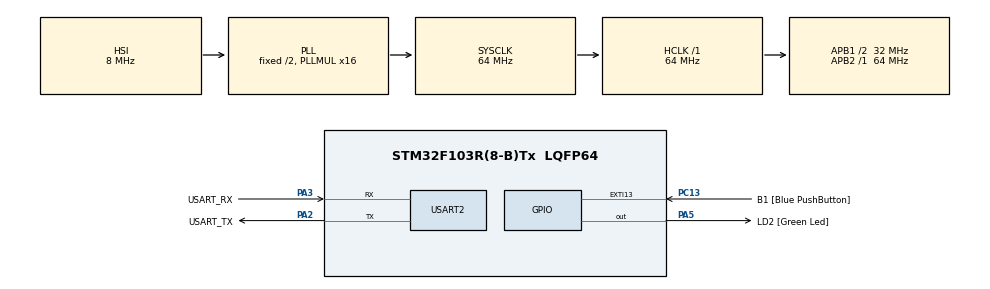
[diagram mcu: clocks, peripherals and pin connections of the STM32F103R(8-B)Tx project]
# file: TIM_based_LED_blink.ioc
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Mcu.Family=STM32F1
Mcu.Name=STM32F103R(8-B)Tx
Mcu.Package=LQFP64
NVIC.EXTI15_10_IRQn=true\:0\:0\:false\:false\:true\:true\:true\:true
NVIC.PriorityGroup=NVIC_PRIORITYGROUP_4
NVIC.TIM2_IRQn=true\:0\:0\:false\:false\:true\:true\:true\:true
PA13.GPIO_Label=TMS
PA13.Mode=Serial_Wire
PA13.Signal=SYS_JTMS-SWDIO
PA14.GPIO_Label=TCK
PA14.Mode=Serial_Wire
PA14.Signal=SYS_JTCK-SWCLK
PA2.GPIO_Label=USART_TX
PA2.GPIO_Mode=GPIO_MODE_AF_PP
PA2.GPIO_PuPd=GPIO_NOPULL
PA2.GPIO_Speed=GPIO_SPEED_FREQ_LOW
PA2.Mode=Asynchronous
PA2.Signal=USART2_TX
PA3.GPIO_Label=USART_RX
PA3.GPIO_Mode=GPIO_MODE_AF_PP
PA3.GPIO_PuPd=GPIO_NOPULL
PA3.GPIO_Speed=GPIO_SPEED_FREQ_LOW
PA3.Mode=Asynchronous
PA3.Signal=USART2_RX
PA5.GPIO_Label=LD2 [Green Led]
PA5.GPIO_ModeDefaultOutputPP=GPIO_MODE_OUTPUT_PP
PA5.GPIO_PuPd=GPIO_NOPULL
PA5.GPIO_Speed=GPIO_SPEED_FREQ_LOW
PA5.Signal=GPIO_Output
PB3.GPIO_Label=SWO
PB3.Signal=SYS_JTDO-TRACESWO
PC13-TAMPER-RTC.GPIO_Label=B1 [Blue PushButton]
PC13-TAMPER-RTC.GPIO_PuPd=GPIO_NOPULL
PC13-TAMPER-RTC.Signal=GPXTI13
PC14-OSC32_IN.Mode=LSE-External-Oscillator
PC14-OSC32_IN.Signal=RCC_OSC32_IN
PC15-OSC32_OUT.Mode=LSE-External-Oscillator
PC15-OSC32_OUT.Signal=RCC_OSC32_OUT
PD0-OSC_IN.Mode=HSE-External-Clock-Source
PD0-OSC_IN.Signal=RCC_OSC_IN
PD1-OSC_OUT.Mode=HSE-External-Clock-Source
PD1-OSC_OUT.Signal=RCC_OSC_OUT
ProjectManager.HeapSize=0x200
ProjectManager.StackSize=0x400
ProjectManager.TargetToolchain=STM32CubeIDE
RCC.AHBFreq_Value=64000000
RCC.APB1CLKDivider=RCC_HCLK_DIV2
RCC.APB1Freq_Value=32000000
RCC.APB1TimFreq_Value=64000000
RCC.APB2Freq_Value=64000000
RCC.APB2TimFreq_Value=64000000
RCC.HCLKFreq_Value=64000000
RCC.PLLMUL=RCC_PLL_MUL16
RCC.RTCClockSelection=RCC_RTCCLKSOURCE_LSE
RCC.SYSCLKFreq_VALUE=64000000
RCC.SYSCLKSource=RCC_SYSCLKSOURCE_PLLCLK
RCC.USBFreq_Value=64000000
TIM2.Period=1-1
TIM2.Prescaler=64000-1
USART2.VirtualMode=VM_ASYNC
VP_TIM2_VS_ClockSourceINT.Mode=Internal
board=NUCLEO-F103RB

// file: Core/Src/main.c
/* USER CODE BEGIN Header */
/**
  ******************************************************************************
  * @file           : main.c
  * @brief          : Main program body
  ******************************************************************************
  * @attention
  *
  * Copyright (c) 2025 STMicroelectronics.
  * All rights reserved.
  *
  * This software is licensed under terms that can be found in the LICENSE file
  * in the root directory of this software component.
  * If no LICENSE file comes with this software, it is provided AS-IS.
  *
  ******************************************************************************
  */
/* USER CODE END Header */
/* USER CODE BEGIN 0 */
/*
 * === STM32 BASIC TEMPLATE ===
 * - TIM2 as system tick (2 ms)
 * - ISR: only counters / events
 * - main loop: hardware actions
 * - NO HAL_Delay in ISR
 * - NO heavy logic in ISR
 */
/* USER CODE END 0 */

#include "main.h"

/* USER CODE BEGIN PD */
#define SYS_TICK_PERIOD_MS   2
#define LED_BLINK_PERIOD_MS 500
/* USER CODE END PD */

TIM_HandleTypeDef htim2;

UART_HandleTypeDef huart2;

/* USER CODE BEGIN PV */
volatile uint32_t sys_tick_ms = 0;
volatile uint32_t event_led_toggle = 0;
/* USER CODE END PV */

void SystemClock_Config(void);
static void MX_GPIO_Init(void);
static void MX_USART2_UART_Init(void);
static void MX_TIM2_Init(void);

int main(void)
{

  /* MCU Configuration--------------------------------------------------------*/

  /* Reset of all peripherals, Initializes the Flash interface and the Systick. */
  HAL_Init();

  /* Configure the system clock */
  SystemClock_Config();

  /* Initialize all configured peripherals */
  MX_GPIO_Init();
  MX_USART2_UART_Init();
  MX_TIM2_Init();
  /* USER CODE BEGIN 2 */
  HAL_TIM_Base_Start_IT(&htim2);
  /* USER CODE END 2 */

  /* Infinite loop */
	/* USER CODE BEGIN WHILE */
	while (1) {
		if (event_led_toggle > 0) {
			event_led_toggle--;
			HAL_GPIO_TogglePin(LD2_GPIO_Port, LD2_Pin);
		}
		/* USER CODE END WHILE */

  }
}

void SystemClock_Config(void)
{
  RCC_OscInitTypeDef RCC_OscInitStruct = {0};
  RCC_ClkInitTypeDef RCC_ClkInitStruct = {0};

  /** Initializes the RCC Oscillators according to the specified parameters
  * in the RCC_OscInitTypeDef structure.
  */
  RCC_OscInitStruct.OscillatorType = RCC_OSCILLATORTYPE_HSI;
  RCC_OscInitStruct.HSIState = RCC_HSI_ON;
  RCC_OscInitStruct.HSICalibrationValue = RCC_HSICALIBRATION_DEFAULT;
  RCC_OscInitStruct.PLL.PLLState = RCC_PLL_ON;
  RCC_OscInitStruct.PLL.PLLSource = RCC_PLLSOURCE_HSI_DIV2;
  RCC_OscInitStruct.PLL.PLLMUL = RCC_PLL_MUL16;
  if (HAL_RCC_OscConfig(&RCC_OscInitStruct) != HAL_OK)
  {
    Error_Handler();
  }

  /** Initializes the CPU, AHB and APB buses clocks
  */
  RCC_ClkInitStruct.ClockType = RCC_CLOCKTYPE_HCLK|RCC_CLOCKTYPE_SYSCLK
                              |RCC_CLOCKTYPE_PCLK1|RCC_CLOCKTYPE_PCLK2;
  RCC_ClkInitStruct.SYSCLKSource = RCC_SYSCLKSOURCE_PLLCLK;
  RCC_ClkInitStruct.AHBCLKDivider = RCC_SYSCLK_DIV1;
  RCC_ClkInitStruct.APB1CLKDivider = RCC_HCLK_DIV2;
  RCC_ClkInitStruct.APB2CLKDivider = RCC_HCLK_DIV1;

  if (HAL_RCC_ClockConfig(&RCC_ClkInitStruct, FLASH_LATENCY_2) != HAL_OK)
  {
    Error_Handler();
  }
}

static void MX_TIM2_Init(void)
{

  TIM_ClockConfigTypeDef sClockSourceConfig = {0};
  TIM_MasterConfigTypeDef sMasterConfig = {0};

  htim2.Instance = TIM2;
  htim2.Init.Prescaler = 64000-1;
  htim2.Init.CounterMode = TIM_COUNTERMODE_UP;
  htim2.Init.Period = 2-1;
  htim2.Init.ClockDivision = TIM_CLOCKDIVISION_DIV1;
  htim2.Init.AutoReloadPreload = TIM_AUTORELOAD_PRELOAD_DISABLE;
  if (HAL_TIM_Base_Init(&htim2) != HAL_OK)
  {
    Error_Handler();
  }
  sClockSourceConfig.ClockSource = TIM_CLOCKSOURCE_INTERNAL;
  if (HAL_TIM_ConfigClockSource(&htim2, &sClockSourceConfig) != HAL_OK)
  {
    Error_Handler();
  }
  sMasterConfig.MasterOutputTrigger = TIM_TRGO_RESET;
  sMasterConfig.MasterSlaveMode = TIM_MASTERSLAVEMODE_DISABLE;
  if (HAL_TIMEx_MasterConfigSynchronization(&htim2, &sMasterConfig) != HAL_OK)
  {
    Error_Handler();
  }
  /* USER CODE BEGIN TIM2_Init 2 */
  HAL_NVIC_SetPriority(TIM2_IRQn, 1, 0);
  HAL_NVIC_EnableIRQ(TIM2_IRQn);
  /* USER CODE END TIM2_Init 2 */

}

static void MX_USART2_UART_Init(void)
{

  huart2.Instance = USART2;
  huart2.Init.BaudRate = 115200;
  huart2.Init.WordLength = UART_WORDLENGTH_8B;
  huart2.Init.StopBits = UART_STOPBITS_1;
  huart2.Init.Parity = UART_PARITY_NONE;
  huart2.Init.Mode = UART_MODE_TX_RX;
  huart2.Init.HwFlowCtl = UART_HWCONTROL_NONE;
  huart2.Init.OverSampling = UART_OVERSAMPLING_16;
  if (HAL_UART_Init(&huart2) != HAL_OK)
  {
    Error_Handler();
  }

}

static void MX_GPIO_Init(void)
{
  GPIO_InitTypeDef GPIO_InitStruct = {0};

  /* GPIO Ports Clock Enable */
  __HAL_RCC_GPIOC_CLK_ENABLE();
  __HAL_RCC_GPIOD_CLK_ENABLE();
  __HAL_RCC_GPIOA_CLK_ENABLE();
  __HAL_RCC_GPIOB_CLK_ENABLE();

  /*Configure GPIO pin Output Level */
  HAL_GPIO_WritePin(LD2_GPIO_Port, LD2_Pin, GPIO_PIN_RESET);

  /*Configure GPIO pin : B1_Pin */
  GPIO_InitStruct.Pin = B1_Pin;
  GPIO_InitStruct.Mode = GPIO_MODE_IT_RISING;
  GPIO_InitStruct.Pull = GPIO_NOPULL;
  HAL_GPIO_Init(B1_GPIO_Port, &GPIO_InitStruct);

  /*Configure GPIO pin : LD2_Pin */
  GPIO_InitStruct.Pin = LD2_Pin;
  GPIO_InitStruct.Mode = GPIO_MODE_OUTPUT_PP;
  GPIO_InitStruct.Pull = GPIO_NOPULL;
  GPIO_InitStruct.Speed = GPIO_SPEED_FREQ_LOW;
  HAL_GPIO_Init(LD2_GPIO_Port, &GPIO_InitStruct);

  /* EXTI interrupt init*/
  HAL_NVIC_SetPriority(EXTI15_10_IRQn, 0, 0);
  HAL_NVIC_EnableIRQ(EXTI15_10_IRQn);

}

/* USER CODE BEGIN 4 */
void HAL_TIM_PeriodElapsedCallback(TIM_HandleTypeDef *htim) {
	if (htim->Instance == TIM2) {
		if (++sys_tick_ms >= (LED_BLINK_PERIOD_MS / SYS_TICK_PERIOD_MS)) {
			event_led_toggle++;
			sys_tick_ms = 0;
		}
	}
}
/* USER CODE END 4 */

void Error_Handler(void)
{
  __disable_irq();
  while (1)
  {
  }
}
